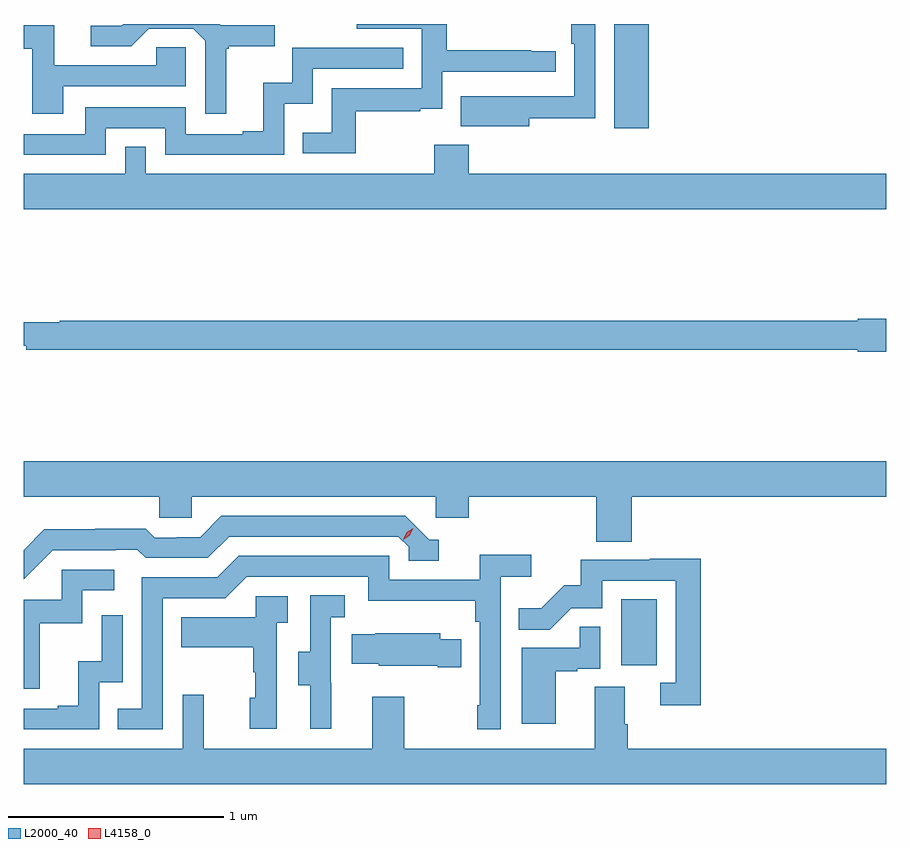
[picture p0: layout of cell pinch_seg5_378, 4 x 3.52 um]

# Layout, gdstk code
import gdstk
lib = gdstk.Library(unit=1e-6, precision=1e-09)
def R(c, l, rs):  # rectangles x0, y0, x1, y1
    for r in rs: c.add(gdstk.rectangle(r[:2], r[2:], *l))
def P(c, l, *ps):  # polygons
    for p in ps: c.add(gdstk.Polygon(p, *l))
L2000_40 = (2000, 40)
L4158_0 = (4158, 0)

pinch_seg5_378 = lib.new_cell('pinch_seg5_378')
R(pinch_seg5_378, L2000_40, [(1007.186,891.942,1007.35,892.249), (1007.153,894.432,1007.314,894.915)])
P(pinch_seg5_378, L2000_40, [(1005.355,894.801),(1005.367,894.801),(1005.367,894.812),(1005.58,894.812),(1005.58,894.909),(1005.33,894.909),(1005.324,894.915),(1004.877,894.915),(1004.868,894.906),(1004.727,894.906),(1004.727,894.813),(1004.914,894.813),(1004.995,894.894),(1005.201,894.894),(1005.258,894.837),(1005.258,894.498),(1005.355,894.498)],
  [(1006.759,894.478),(1007.064,894.478),(1007.064,894.915),(1006.955,894.915),(1006.955,894.824),(1006.968,894.824),(1006.968,894.579),(1006.655,894.579),(1006.655,894.58),(1006.441,894.58),(1006.441,894.44),(1006.759,894.44)],
  [(1005.955,894.51),(1006.253,894.51),(1006.253,894.521),(1006.356,894.521),(1006.356,894.693),(1006.882,894.693),(1006.882,894.789),(1006.769,894.789),(1006.769,894.794),(1006.376,894.794),(1006.376,894.915),(1005.959,894.915),(1005.959,894.894),(1006.26,894.894),(1006.26,894.618),(1005.844,894.618),(1005.844,894.412),(1005.709,894.412),(1005.709,894.315),(1005.955,894.315)],
  [(1004.599,894.627),(1005.168,894.627),(1005.168,894.807),(1005.031,894.807),(1005.031,894.723),(1004.557,894.723),(1004.557,894.909),(1004.415,894.909),(1004.415,894.801),(1004.455,894.801),(1004.455,894.498),(1004.599,894.498)],
  [(1004.796,894.432),(1005.072,894.432),(1005.072,894.309),(1005.624,894.309),(1005.624,894.545),(1005.756,894.545),(1005.756,894.708),(1006.175,894.708),(1006.175,894.804),(1005.66,894.804),(1005.66,894.643),(1005.527,894.643),(1005.527,894.418),(1005.431,894.418),(1005.431,894.405),(1005.168,894.405),(1005.168,894.528),(1004.7,894.528),(1004.7,894.405),(1004.415,894.405),(1004.415,894.309),(1004.796,894.309)],
  [(1008.415,894.22),(1006.478,894.22),(1006.478,894.355),(1006.318,894.355),(1006.318,894.22),(1004.982,894.22),(1004.982,894.347),(1004.886,894.347),(1004.886,894.22),(1004.415,894.22),(1004.415,894.056),(1008.415,894.056)],
  [(1008.415,893.548),(1008.282,893.548),(1008.282,893.54),(1004.582,893.54),(1004.582,893.533),(1004.415,893.533),(1004.415,893.423),(1004.428,893.423),(1004.428,893.404),(1008.282,893.404),(1008.282,893.396),(1008.415,893.396)],
  [(1007.234,892.724),(1008.415,892.724),(1008.415,892.888),(1004.415,892.888),(1004.415,892.724),(1005.045,892.724),(1005.045,892.626),(1005.195,892.626),(1005.195,892.724),(1006.326,892.724),(1006.326,892.626),(1006.478,892.626),(1006.478,892.724),(1007.069,892.724),(1007.069,892.516),(1007.234,892.516)],
  [(1004.55,892.476),(1004.843,892.476),(1004.843,892.479),(1004.942,892.479),(1004.981,892.44),(1005.27,892.44),(1005.369,892.539),(1006.152,892.539),(1006.2,892.491),(1006.2,892.428),(1006.339,892.428),(1006.339,892.524),(1006.296,892.524),(1006.185,892.635),(1005.332,892.635),(1005.233,892.536),(1005.126,892.536),(1005.126,892.533),(1005.023,892.533),(1004.981,892.576),(1004.748,892.576),(1004.748,892.573),(1004.512,892.573),(1004.415,892.476),(1004.415,892.341)],
  [(1005.06,892.254),(1005.351,892.254),(1005.45,892.353),(1006.014,892.353),(1006.014,892.241),(1006.51,892.241),(1006.51,892.145),(1006.53,892.145),(1006.53,891.757),(1006.518,891.757),(1006.518,891.645),(1006.626,891.645),(1006.626,892.352),(1006.768,892.352),(1006.768,892.454),(1006.529,892.454),(1006.529,892.338),(1006.11,892.338),(1006.11,892.449),(1005.413,892.449),(1005.314,892.35),(1004.964,892.35),(1004.964,891.741),(1004.851,891.741),(1004.851,891.645),(1005.06,891.645)],
  [(1007.555,892.436),(1007.317,892.436),(1007.317,892.431),(1006.999,892.431),(1006.999,892.314),(1006.922,892.314),(1006.815,892.207),(1006.711,892.207),(1006.711,892.108),(1006.855,892.108),(1006.953,892.206),(1007.097,892.206),(1007.097,892.335),(1007.439,892.335),(1007.439,891.861),(1007.367,891.861),(1007.367,891.756),(1007.555,891.756)],
  [(1004.489,892.137),(1004.688,892.137),(1004.688,892.29),(1004.836,892.29),(1004.836,892.386),(1004.592,892.386),(1004.592,892.245),(1004.415,892.245),(1004.415,891.834),(1004.489,891.834)],
  [(1005.842,891.861),(1005.84,891.861),(1005.84,892.165),(1005.904,892.165),(1005.904,892.268),(1005.744,892.268),(1005.744,892.005),(1005.689,892.005),(1005.689,891.85),(1005.743,891.85),(1005.743,891.648),(1005.842,891.648)],
  [(1005.588,892.139),(1005.64,892.139),(1005.64,892.263),(1005.492,892.263),(1005.492,892.165),(1005.145,892.165),(1005.145,892.025),(1005.48,892.025),(1005.48,891.911),(1005.49,891.911),(1005.49,891.792),(1005.464,891.792),(1005.464,891.648),(1005.588,891.648)],
  [(1004.766,891.864),(1004.874,891.864),(1004.874,892.174),(1004.778,892.174),(1004.778,891.962),(1004.669,891.962),(1004.669,891.754),(1004.573,891.754),(1004.573,891.741),(1004.415,891.741),(1004.415,891.645),(1004.766,891.645)],
  [(1006.882,891.915),(1006.982,891.915),(1006.982,891.927),(1007.088,891.927),(1007.088,892.121),(1006.993,892.121),(1006.993,892.023),(1006.724,892.023),(1006.724,891.672),(1006.882,891.672)],
  [(1006.445,892.063),(1006.347,892.063),(1006.347,892.09),(1006.045,892.09),(1006.045,892.087),(1005.937,892.087),(1005.937,891.95),(1006.062,891.95),(1006.062,891.941),(1006.334,891.941),(1006.334,891.934),(1006.445,891.934)],
  [(1008.415,891.556),(1007.216,891.556),(1007.216,891.668),(1007.203,891.668),(1007.203,891.842),(1007.063,891.842),(1007.063,891.556),(1006.179,891.556),(1006.179,891.796),(1006.031,891.796),(1006.031,891.556),(1005.251,891.556),(1005.251,891.805),(1005.153,891.805),(1005.153,891.556),(1004.415,891.556),(1004.415,891.392),(1008.415,891.392)])
P(pinch_seg5_378, L4158_0, [(1006.176,892.525),(1006.176,892.525),(1006.191,892.558),(1006.221,892.578),(1006.222,892.578),(1006.222,892.578),(1006.206,892.545),(1006.176,892.525)])

lib.write_gds('pinch_seg5_378.gds')
